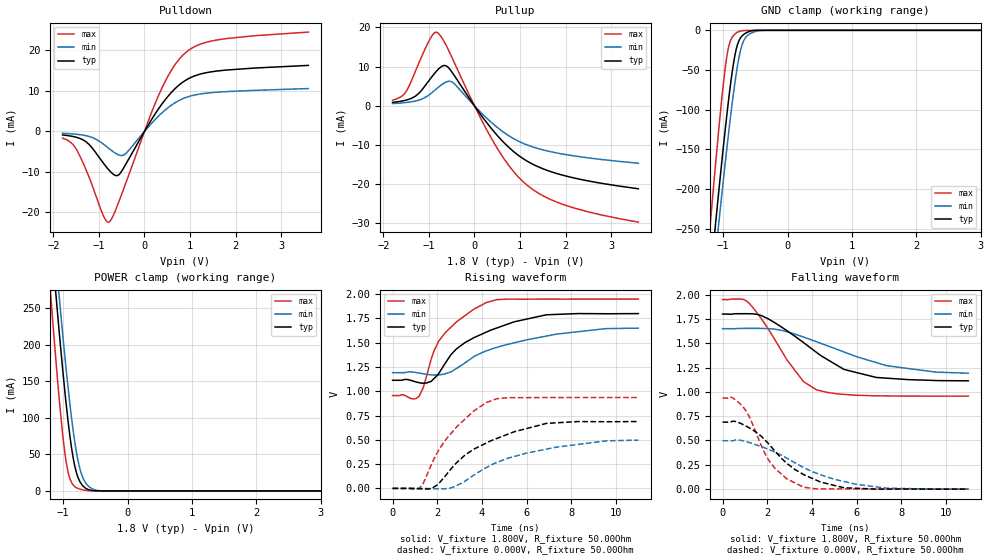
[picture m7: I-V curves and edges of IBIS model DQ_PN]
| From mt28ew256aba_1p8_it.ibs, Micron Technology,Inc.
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|   Model DQ_PN
[Model]   DQ_PN
Model_type   I/O
Vinl   = 0.800V
Vinh   = 1.260V
Vmeas  = 0.900V
|   typ   min   max
C_comp   4.086pF   3.586pF   4.586pF
[Voltage Range]   1.800V   1.650V   1.950V
| Junction Temperature (Ambient temp is 35C typ, 85C min, -40C max)
[Temperature Range]   50.0   100.0   -40.0
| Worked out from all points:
|   slope of the pulldown table from 0 to 0.27 V, typ, clamps not added: 54.8 ohm
|   slope of the pullup table from 0 to 0.27 V, typ, clamps not added: 63.1 ohm
|   GND clamp passes 1 mA (typ) near -0.58 V on its own axis
|   POWER clamp passes 1 mA (typ) near -0.57 V on its own axis
|   falling waveform, V_fixture 1.800V, R_fixture 50.00Ohm: 20-80 % time 2.63ns typ, 3.45ns min, 1.72ns max; typ from 1.8 V to 1.11 V
|   rising waveform, V_fixture 1.800V, R_fixture 50.00Ohm: 20-80 % time 2.55ns typ, 3.47ns min, 1.55ns max; typ from 1.11 V to 1.8 V
|   rising waveform, V_fixture 0.000V, R_fixture 50.00Ohm: 20-80 % time 2.68ns typ, 3.34ns min, 1.78ns max; typ from 0 V to 0.689 V
|   falling waveform, V_fixture 0.000V, R_fixture 50.00Ohm: 20-80 % time 2.05ns typ, 2.87ns min, 1.28ns max; typ from 0.689 V to 0 V
[Pulldown]
|   Voltage   I(typ)   I(min)   I(max)
-1.8V     -886.1uA   -483.4uA   -1.674mA
-1.476V   -1.532mA   -735.5uA   -4.84mA
-1.217V   -3.236mA   -1.266mA   -11.3mA
-914.4mV  -7.67mA    -3.047mA   -20.52mA
-774mV    -9.632mA   -4.287mA   -22.34mA
-606.6mV  -10.93mA   -5.604mA   -18.6mA
-439.2mV  -8.655mA   -5.732mA   -13.62mA
279mV     5.079mA    3.441mA    8.089mA
559.8mV   9.211mA    6.199mA    14.49mA
840.6mV   12.13mA    8.045mA    18.76mA
1.564V    14.84mA    9.635mA    22.48mA
3.6V      16.27mA    10.55mA    24.49mA
[GND Clamp]
|   Voltage   I(typ)   I(min)   I(max)
-1.8V     -842.9mA   -854.1mA   -830mA
-1.211V   -322.3mA   -357.6mA   -254.8mA
-1.179V   -294.9mA   -331.4mA   -224.7mA
-1.109V   -236.3mA   -275.3mA   -160.5mA
-1.066V   -201.2mA   -241.5mA   -122.8mA
-936mV    -102.1mA   -144.2mA   -29.63mA
-844.2mV  -44.24mA   -82.25mA   -7.016mA
-779.4mV  -18.6mA    -45.67mA   -2.411mA
-730.8mV  -9.507mA   -25.51mA   -954.3uA
-655.2mV  -3.803mA   -9.396mA   -190.1uA
-439.2mV  -19.89uA   -463.7uA   -208.4nA
3.6V      0A         0A         0A
[Pullup]
|   Voltage   I(typ)   I(min)   I(max)
-1.8V     902.2uA    596.6uA    1.464mA
-1.503V   1.464mA    868.3uA    3.654mA
-1.249V   2.932mA    1.388mA    10.18mA
-973.8mV  6.863mA    3.017mA    17.13mA
-801mV    9.277mA    4.681mA    18.61mA
-649.8mV  10.3mA     5.932mA    16.04mA
-482.4mV  8.404mA    6.01mA     12.02mA
365.4mV   -5.689mA   -4.153mA   -8.152mA
754.2mV   -10.58mA   -7.625mA   -15.21mA
1.057V    -13.36mA   -9.494mA   -19.2mA
1.904V    -17.57mA   -12.22mA   -24.97mA
3.6V      -21.15mA   -14.63mA   -29.67mA
[POWER Clamp]
|   Voltage   I(typ)   I(min)   I(max)
-1.8V     1.045A     1.064A     1.019A
-1.211V   372.8mA    416.6mA    288.4mA
-1.179V   338.1mA    383.2mA    251.5mA
-1.109V   264.8mA    311.9mA    174mA
-1.06V    216.2mA    264.2mA    124.7mA
-1.001V   160.2mA    208.4mA    71.91mA
-952.2mV  118.1mA    165.2mA    39.21mA
-871.2mV  59.76mA    100.9mA    11.9mA
-801mV    27.27mA    56.74mA    4.714mA
-676.8mV  5.492mA    14.9mA     1.146mA
-460.8mV  118.5uA    578.4uA    12.59uA
3.6V      0A         0A         0A
[Ramp]
R_load = 50.00Ohm
|   typ   min   max
dV/dt_r   413.133mV/2.685ns   298.363mV/3.345ns   561.293mV/1.778ns
dV/dt_f   411.979mV/2.628ns   274.913mV/3.448ns   596.071mV/1.723ns
[Falling Waveform]
V_fixture = 1.800V
V_fixture_min = 1.650V
V_fixture_max = 1.950V
R_fixture = 50.00Ohm
|   Time   V(typ)   V(min)   V(max)
0s        1.8V       1.65V      1.949V
920ps     1.804V     1.653V     1.951V
1.19ns    1.804V     1.653V     1.911V
2.03ns    1.753V     1.651V     1.652V
2.87ns    1.631V     1.618V     1.333V
3.62ns    1.508V     1.564V     1.106V
4.2ns     1.407V     1.516V     1.022V
5.44ns    1.23V      1.41V      973.7mV
6.88ns    1.148V     1.301V     959.5mV
11ns      1.113V     1.192V     955.8mV
[Rising Waveform]
V_fixture = 1.800V
V_fixture_min = 1.650V
V_fixture_max = 1.950V
R_fixture = 50.00Ohm
|   Time   V(typ)   V(min)   V(max)
0s        1.113V     1.192V     955.8mV
930ps     1.105V     1.197V     920.1mV
1.19ns    1.089V     1.188V     949.4mV
1.38ns    1.084V     1.181V     1.042V
1.73ns    1.103V     1.169V     1.329V
2.07ns    1.184V     1.169V     1.517V
2.86ns    1.437V     1.235V     1.714V
4.2ns     1.61V      1.416V     1.914V
6.88ns    1.788V     1.568V     1.949V
11ns      1.8V       1.65V      1.949V
[Rising Waveform]
V_fixture = 0.000V
V_fixture_min = 0.000V
V_fixture_max = 0.000V
R_fixture = 50.00Ohm
|   Time   V(typ)   V(min)   V(max)
0s        9.225uV    5.716uV    534.3uV
1.2ns     -3.21mV    378.8uV    989.8uV
1.38ns    -5.472mV   -407.2uV   55.54mV
1.73ns    -2.409mV   -2.584mV   241.7mV
2.35ns    125.1mV    -3.224mV   493mV
3.24ns    342.8mV    74.48mV    713.3mV
4.21ns    469.1mV    216.4mV    885.2mV
5.18ns    559.9mV    311.6mV    934.1mV
6.88ns    669.2mV    404mV      935.8mV
11ns      688.6mV    497.3mV    936mV
[Falling Waveform]
V_fixture = 0.000V
V_fixture_min = 0.000V
V_fixture_max = 0.000V
R_fixture = 50.00Ohm
|   Time   V(typ)   V(min)   V(max)
0s        688.6mV    497.3mV    936mV
410ps     694.8mV    496.8mV    941.7mV
920ps     663.2mV    496.4mV    844.3mV
1.2ns     629mV      478.4mV    742.5mV
2.07ns    463.5mV    407.5mV    295.1mV
2.87ns    265.6mV    318.2mV    106.3mV
3.62ns    149.9mV    222.4mV    19.88mV
4.4ns     71.31mV    146.4mV    2.264mV
5.99ns    8.191mV    48.77mV    1.219mV
11ns      9.225uV    5.716uV    534.3uV
